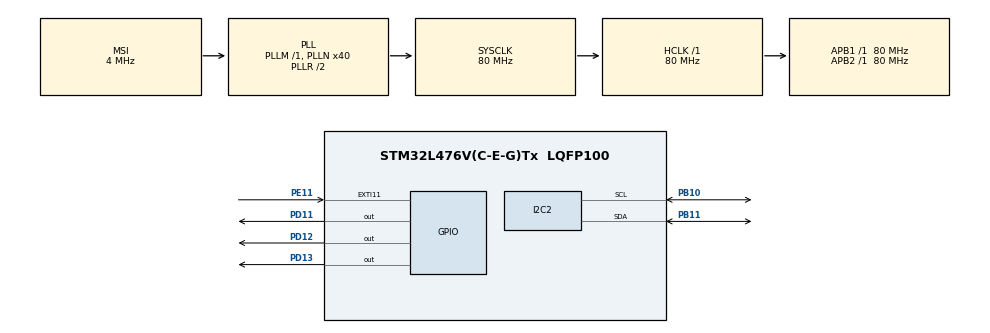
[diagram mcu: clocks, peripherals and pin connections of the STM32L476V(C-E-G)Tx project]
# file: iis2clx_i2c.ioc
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I2C2.Timing=0x10909CEC
Mcu.Family=STM32L4
Mcu.Name=STM32L476V(C-E-G)Tx
Mcu.Package=LQFP100
NVIC.EXTI15_10_IRQn=true\:0\:0\:false\:false\:true\:true\:true
NVIC.PriorityGroup=NVIC_PRIORITYGROUP_4
PA13\ (JTMS-SWDIO).Mode=Serial_Wire
PA13\ (JTMS-SWDIO).Signal=SYS_JTMS-SWDIO
PA14\ (JTCK-SWCLK).Mode=Serial_Wire
PA14\ (JTCK-SWCLK).Signal=SYS_JTCK-SWCLK
PB10.Mode=I2C
PB10.Signal=I2C2_SCL
PB11.Mode=I2C
PB11.Signal=I2C2_SDA
PD11.Signal=GPIO_Output
PD12.Signal=GPIO_Output
PD13.Signal=GPIO_Output
PE11.Signal=GPXTI11
ProjectManager.HeapSize=0x400
ProjectManager.StackSize=0x800
ProjectManager.TargetToolchain=STM32CubeIDE
RCC.AHBFreq_Value=80000000
RCC.APB1Freq_Value=80000000
RCC.APB1TimFreq_Value=80000000
RCC.APB2Freq_Value=80000000
RCC.APB2TimFreq_Value=80000000
RCC.CortexFreq_Value=80000000
RCC.HCLKFreq_Value=80000000
RCC.HSE_VALUE=8000000
RCC.HSI_VALUE=16000000
RCC.LSE_VALUE=32768
RCC.MSI_VALUE=4000000
RCC.PLLN=40
RCC.SYSCLKFreq_VALUE=80000000
RCC.SYSCLKSource=RCC_SYSCLKSOURCE_PLLCLK
RCC.VCOOutputFreq_Value=160000000
board=custom

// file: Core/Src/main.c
/* USER CODE BEGIN Header */
/**
  ******************************************************************************
  * @file           : main.c
  * @brief          : Main program body
  ******************************************************************************
  * @attention
  *
  * <h2><center>&copy; Copyright (c) 2021 STMicroelectronics.
  * All rights reserved.</center></h2>
  *
  * This software component is licensed by ST under BSD 3-Clause license,
  * the "License"; You may not use this file except in compliance with the
  * License. You may obtain a copy of the License at:
  *                        opensource.org/licenses/BSD-3-Clause
  *
  ******************************************************************************
  */
/* USER CODE END Header */

#include "main.h"
#include "i2c.h"
#include "gpio.h"

/* USER CODE BEGIN Includes */
#include <stdarg.h>
#include <stdio.h>

#include "ii2clx.h"
/* USER CODE END Includes */

/* USER CODE BEGIN PV */

int16_t acc_x_temp = 0U;
int16_t acc_y_temp = 0U;
float    acc_x_mg   = 0.0f;
float    acc_y_mg   = 0.0f;
uint8_t i2cBuf[5];

/* USER CODE END PV */

void SystemClock_Config(void);
int16_t twoComplement(int16_t in1);
/* USER CODE BEGIN PFP */
char buffer[10];
int vspfunc(char *format, ...) {
   va_list aptr;
   int ret;

   va_start(aptr, format);
   ret = vsprintf(buffer, format, aptr);
   va_end(aptr);

   return(ret);
}

/* USER CODE END PFP */

int main(void)
{

  /* MCU Configuration--------------------------------------------------------*/

  /* Reset of all peripherals, Initializes the Flash interface and the Systick. */
  HAL_Init();

  /* Configure the system clock */
  SystemClock_Config();

  /* Initialize all configured peripherals */
  MX_GPIO_Init();
  MX_I2C2_Init();
  /* USER CODE BEGIN 2 */
for (int i =0; i<255; i++)
{
	if (HAL_I2C_IsDeviceReady(&hi2c2, i, 1, 10) == HAL_OK)
	{
		HAL_GPIO_TogglePin(GPIOD, GPIO_PIN_12);
		break;
	}
}

/**
 * Initializing the sensor
 *  Writing the correct value into CTRL1_XL
 **/
i2cBuf[0] = IIS2CLX_CTRL1_LX_ADDR;
i2cBuf[1] = (II2CLX_ODR_104Hz & 0xF0) | (IIS2CLX_FS_2_G & 0x0C);

HAL_I2C_Master_Transmit(&hi2c2, IIS2CLX_DEV_ADDR, i2cBuf, 2, HAL_MAX_DELAY);

/*

float f = 0.001;
vspfunc("%f", f);
*/
  /* USER CODE END 2 */

  /* Infinite loop */
  while (1)
  {

    /* USER CODE BEGIN 3 */
    /* Constantly Read Acc Values */
    i2cBuf[0] = IIS2CLX_X_AXIS_L_ADDR;
    HAL_I2C_Master_Transmit(&hi2c2, IIS2CLX_DEV_ADDR, i2cBuf, 1, HAL_MAX_DELAY);
    HAL_I2C_Master_Receive(&hi2c2, IIS2CLX_DEV_ADDR, &i2cBuf[1], 4, HAL_MAX_DELAY);

    /** combining the bytes of each axis **/
    acc_x_temp = ((int16_t) i2cBuf[1]<<8 | i2cBuf[2]);
    acc_y_temp = ((int16_t ) i2cBuf[3]<<8 | i2cBuf[4]);
    /** Converting to 2's negative **/
    acc_x_temp = twoComplement(acc_x_temp);
    acc_y_temp = twoComplement(acc_y_temp);

    acc_x_mg = (((float)acc_x_temp)/16393);
    acc_y_mg = (((float)acc_y_temp)/16393);
  }
  /* USER CODE END 3 */
}

void SystemClock_Config(void)
{
  RCC_OscInitTypeDef RCC_OscInitStruct = {0};
  RCC_ClkInitTypeDef RCC_ClkInitStruct = {0};
  RCC_PeriphCLKInitTypeDef PeriphClkInit = {0};

  /** Initializes the CPU, AHB and APB busses clocks
  */
  RCC_OscInitStruct.OscillatorType = RCC_OSCILLATORTYPE_MSI;
  RCC_OscInitStruct.MSIState = RCC_MSI_ON;
  RCC_OscInitStruct.MSICalibrationValue = 0;
  RCC_OscInitStruct.MSIClockRange = RCC_MSIRANGE_6;
  RCC_OscInitStruct.PLL.PLLState = RCC_PLL_ON;
  RCC_OscInitStruct.PLL.PLLSource = RCC_PLLSOURCE_MSI;
  RCC_OscInitStruct.PLL.PLLM = 1;
  RCC_OscInitStruct.PLL.PLLN = 40;
  RCC_OscInitStruct.PLL.PLLP = RCC_PLLP_DIV7;
  RCC_OscInitStruct.PLL.PLLQ = RCC_PLLQ_DIV2;
  RCC_OscInitStruct.PLL.PLLR = RCC_PLLR_DIV2;
  if (HAL_RCC_OscConfig(&RCC_OscInitStruct) != HAL_OK)
  {
    Error_Handler();
  }
  /** Initializes the CPU, AHB and APB busses clocks
  */
  RCC_ClkInitStruct.ClockType = RCC_CLOCKTYPE_HCLK|RCC_CLOCKTYPE_SYSCLK
                              |RCC_CLOCKTYPE_PCLK1|RCC_CLOCKTYPE_PCLK2;
  RCC_ClkInitStruct.SYSCLKSource = RCC_SYSCLKSOURCE_PLLCLK;
  RCC_ClkInitStruct.AHBCLKDivider = RCC_SYSCLK_DIV1;
  RCC_ClkInitStruct.APB1CLKDivider = RCC_HCLK_DIV1;
  RCC_ClkInitStruct.APB2CLKDivider = RCC_HCLK_DIV1;

  if (HAL_RCC_ClockConfig(&RCC_ClkInitStruct, FLASH_LATENCY_4) != HAL_OK)
  {
    Error_Handler();
  }
  PeriphClkInit.PeriphClockSelection = RCC_PERIPHCLK_I2C2;
  PeriphClkInit.I2c2ClockSelection = RCC_I2C2CLKSOURCE_PCLK1;
  if (HAL_RCCEx_PeriphCLKConfig(&PeriphClkInit) != HAL_OK)
  {
    Error_Handler();
  }
  /** Configure the main internal regulator output voltage
  */
  if (HAL_PWREx_ControlVoltageScaling(PWR_REGULATOR_VOLTAGE_SCALE1) != HAL_OK)
  {
    Error_Handler();
  }
}

/* USER CODE BEGIN 4 */
int16_t twoComplement(int16_t in1)
{
  if (in1 > 0x7ff)
  {
    return in1 |= 0xF000;
  }
  else return in1;
}
/* USER CODE END 4 */

void Error_Handler(void)
{
}

/************************ (C) COPYRIGHT STMicroelectronics *****END OF FILE****/
